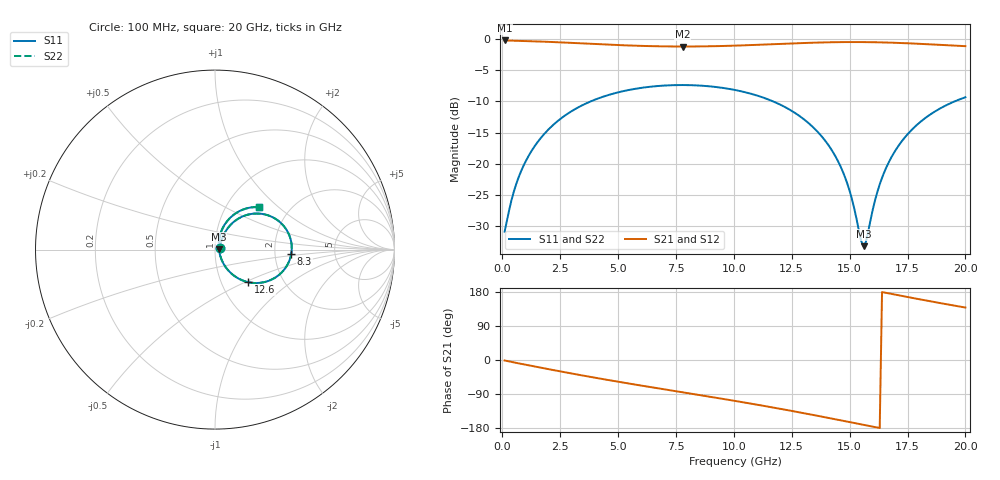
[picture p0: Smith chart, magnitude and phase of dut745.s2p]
! Touchstone file exported from HFSS 2026.1.0
!  File:  C:/ffzhzh/LocalFiles/Ansys_Project_Files/temp_train_TSV_RDL_745_1783205198_55132.aedt
!  Generated:  06:57:35 AM Jul  5, 2026
!  Design:  TSV_RDL
!  Project:  temp_train_TSV_RDL_745_1783205198_55132
! Variables:
!  h_bsmrdl = 3.64um
!  h_ox = 20um
!  h_rdl = 5um
!  h_sub = 53.85um
!  h_tmrdl = 2.6um
!  h_tsv = 53.85um
!  h_via = 3um
!  l_bsmrdl = 205.12um
!  l_sub = 3816.49um
!  l_tmrdl = 669.57um
!  m_sub = 200um
!  pitch = 32.67um
!  r_tsv = 5.01um
!  s_tmrdl = 10um
!  w_bsmrdl = 24.22um
!  w_sub = 500um
!  w_tmrdl = 16.73um
!  x_tsv_center1 = 677.935um
!  x_tsv_center2 = 907.275um
!  x_tsv_center3 = 1593.575um
!  x_tsv_center4 = 1822.915um
!  x_tsv_center5 = 2509.215um
!  x_tsv_center6 = 2738.555um
# GHz S MA R 50.000000
! Terminal data exported
! Port[1] = TM_RDL1_1_T1
! Port[2] = TM_RDL5_1_T1
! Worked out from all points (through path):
!   200 points, 100 MHz to 20 GHz, reference 50 ohm
!   highest |S21| = -0.23 dB at 100 MHz (marker M1); lowest = -1.2 dB at 7.8 GHz (marker M2)
!   group delay of S21, straight-line fit = 30.3 ps
!   lowest |S11| = -33.2 dB at 15.6 GHz (marker M3), VSWR 1.04, Z = 52.2 + j0.192 ohm
!   |S11| at or under -10 dB: start of sweep to 3.815 GHz; 11.7 GHz to 19.53 GHz (7.838 GHz wide, 50.2 % of centre)
!   |S22| runs from -33.1 to -7.4 dB; largest |S21 - S12| = 1.6e-14
!   S11 on the Smith chart (normalised r, x): 100 MHz: 1.05, +0.02; 8.3 GHz: 2.47, -0.13; 12.6 GHz: 1.34, -0.52; 20 GHz: 1.42, +0.76
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0.1  0.02859 21.7  0.9736 -1.3  0.9736 -1.3  0.02859 21.7
! Gamma 0 0 0 0
! Port Impedance 50 0 50 0
0.6  0.06879 56.3  0.9676 -7.6  0.9676 -7.6  0.06879 56.3
1.3  0.13 59.5  0.9591 -16.0  0.9591 -16.0  0.13 59.5
2.3  0.213 53.3  0.9438 -27.7  0.9438 -27.7  0.213 53.3
3.5  0.2974 42.4  0.9213 -41.3  0.9213 -41.3  0.2974 42.4
5.1  0.3776 27.1  0.8927 -58.3  0.8927 -58.3  0.3776 27.1
6.8  0.4213 11.0  0.8739 -75.5  0.8739 -75.5  0.4213 11.0
7.8  0.4277 1.7  0.8706 -85.4  0.8706 -85.4  0.4277 1.7
8.3  0.4257 -3.0  0.8713 -90.3  0.8713 -90.3  0.4256 -3.0
10.1  0.3888 -20.1  0.8854 -108.5  0.8854 -108.5  0.3888 -20.1
12.6  0.2585 -44.5  0.923 -135.5  0.923 -135.5  0.2584 -44.5
13.4  0.1983 -52.0  0.934 -144.7  0.934 -144.7  0.1982 -52.0
14.1  0.1399 -57.3  0.9412 -153.0  0.9412 -153.0  0.1399 -57.3
14.7  0.08714 -58.8  0.9447 -160.2  0.9447 -160.2  0.08715 -58.6
15.1  0.05217 -53.2  0.9456 -165.0  0.9456 -165.0  0.05223 -52.9
15.5  0.02402 -17.0  0.9451 -169.9  0.9451 -169.9  0.02426 -16.7
15.6  0.02189 4.8  0.9448 -171.1  0.9448 -171.1  0.02218 4.9
15.7  0.02361 27.1  0.9444 -172.3  0.9444 -172.3  0.0239 26.9
16.2  0.05973 67.7  0.9412 -178.3  0.9412 -178.3  0.05989 67.4
16.7  0.1037 71.2  0.936 175.7  0.936 175.7  0.1038 71.0
18  0.2125 62.7  0.9156 160.4  0.9156 160.4  0.2125 62.6
20  0.3414 43.8  0.8762 138.4  0.8762 138.4  0.3414 43.7
